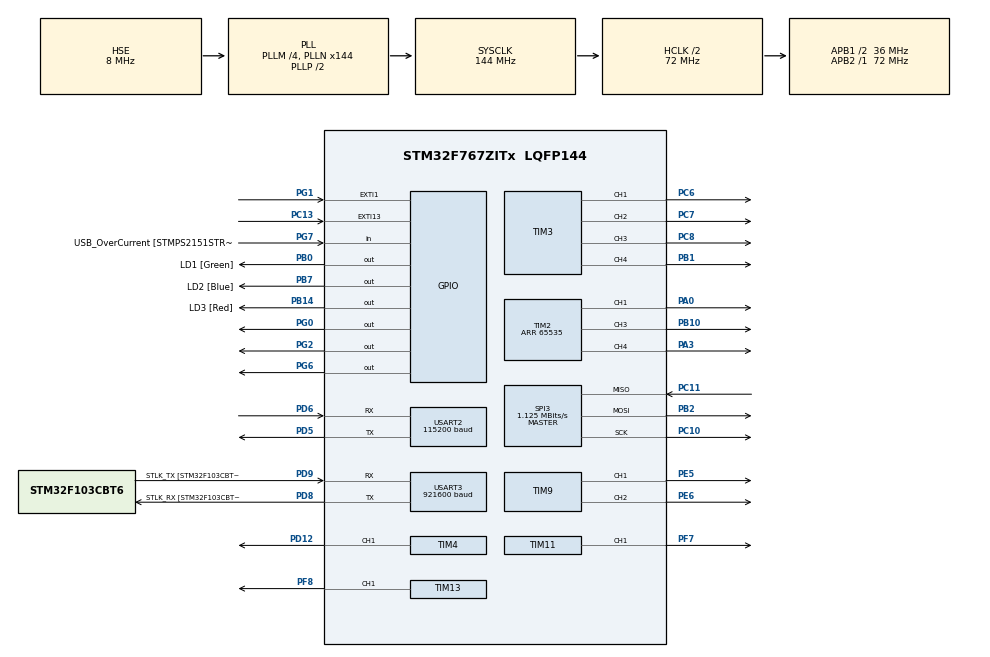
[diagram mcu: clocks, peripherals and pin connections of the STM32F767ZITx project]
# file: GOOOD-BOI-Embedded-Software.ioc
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Dma.Request0=SPI3_RX
Dma.Request1=SPI3_TX
Dma.Request2=USART3_TX
Dma.SPI3_RX.0.Direction=DMA_PERIPH_TO_MEMORY
Dma.SPI3_RX.0.FIFOMode=DMA_FIFOMODE_DISABLE
Dma.SPI3_RX.0.Instance=DMA1_Stream2
Dma.SPI3_RX.0.MemDataAlignment=DMA_MDATAALIGN_BYTE
Dma.SPI3_RX.0.MemInc=DMA_MINC_ENABLE
Dma.SPI3_RX.0.Mode=DMA_NORMAL
Dma.SPI3_RX.0.PeriphDataAlignment=DMA_PDATAALIGN_BYTE
Dma.SPI3_RX.0.PeriphInc=DMA_PINC_DISABLE
Dma.SPI3_RX.0.Priority=DMA_PRIORITY_LOW
Dma.SPI3_TX.1.Direction=DMA_MEMORY_TO_PERIPH
Dma.SPI3_TX.1.FIFOMode=DMA_FIFOMODE_DISABLE
Dma.SPI3_TX.1.Instance=DMA1_Stream7
Dma.SPI3_TX.1.MemDataAlignment=DMA_MDATAALIGN_BYTE
Dma.SPI3_TX.1.MemInc=DMA_MINC_ENABLE
Dma.SPI3_TX.1.Mode=DMA_NORMAL
Dma.SPI3_TX.1.PeriphDataAlignment=DMA_PDATAALIGN_BYTE
Dma.SPI3_TX.1.PeriphInc=DMA_PINC_DISABLE
Dma.SPI3_TX.1.Priority=DMA_PRIORITY_LOW
Dma.USART3_TX.2.Direction=DMA_MEMORY_TO_PERIPH
Dma.USART3_TX.2.FIFOMode=DMA_FIFOMODE_DISABLE
Dma.USART3_TX.2.Instance=DMA1_Stream3
Dma.USART3_TX.2.MemDataAlignment=DMA_MDATAALIGN_BYTE
Dma.USART3_TX.2.MemInc=DMA_MINC_ENABLE
Dma.USART3_TX.2.Mode=DMA_NORMAL
Dma.USART3_TX.2.PeriphDataAlignment=DMA_PDATAALIGN_BYTE
Dma.USART3_TX.2.PeriphInc=DMA_PINC_DISABLE
Dma.USART3_TX.2.Priority=DMA_PRIORITY_LOW
FREERTOS.Events01=DataReady_Pin,Dynamic,NULL;xControllLoop_EventFlag,Dynamic,NULL;yControllLoop_EventFlag,Dynamic,NULL;ControllLoopsFinished_EventFlag,Dynamic,NULL;piDataRx,Dynamic,NULL;searialDataReady,Dynamic,NULL
FREERTOS.Mutexes01=servoAngleMutex,Dynamic,NULL;servoOffsetMutex,Dynamic,NULL;accGyroMutex,Dynamic,NULL;uartBuffMutex,Dynamic,NULL
FREERTOS.Queues01=serialMessages_Queue,32,PSC_MSGQUEUE,0,Dynamic,NULL,NULL
FREERTOS.Tasks01=defaultTask,8,128,StartDefaultTask,Default,NULL,Dynamic,NULL,NULL;xControlLoop,52,512,StartTask02,Default,NULL,Dynamic,NULL,NULL;yControlLoop,52,512,StartTask03,Default,NULL,Dynamic,NULL,NULL;moveLegs,55,512,StartTask04,Default,NULL,Dynamic,NULL,NULL;updateServos,55,512,StartTask05,Default,NULL,Dynamic,NULL,NULL;readADI_IMU,55,256,StartTask06,Default,NULL,Dynamic,NULL,NULL;piComms,55,512,StartTask08,Default,NULL,Dynamic,NULL,NULL
FREERTOS.configENABLE_FPU=1
FREERTOS.configGENERATE_RUN_TIME_STATS=1
FREERTOS.configTICK_RATE_HZ=1000
FREERTOS.configUSE_NEWLIB_REENTRANT=1
FREERTOS.configUSE_STATS_FORMATTING_FUNCTIONS=1
Mcu.Family=STM32F7
Mcu.Name=STM32F767ZITx
Mcu.Package=LQFP144
NVIC.DMA1_Stream2_IRQn=true\:5\:0\:false\:false\:true\:true\:false\:true\:true
NVIC.DMA1_Stream3_IRQn=true\:5\:0\:false\:false\:true\:true\:false\:true\:true
NVIC.DMA1_Stream7_IRQn=true\:5\:0\:false\:false\:true\:true\:false\:true\:true
NVIC.EXTI15_10_IRQn=true\:5\:0\:false\:false\:true\:true\:true\:true\:true
NVIC.EXTI1_IRQn=true\:5\:0\:false\:false\:true\:true\:true\:true\:true
NVIC.PriorityGroup=NVIC_PRIORITYGROUP_4
NVIC.SPI3_IRQn=true\:5\:0\:false\:false\:true\:true\:true\:true\:true
NVIC.TIM1_UP_TIM10_IRQn=true\:5\:0\:false\:false\:true\:true\:true\:true\:true
NVIC.TIM6_DAC_IRQn=true\:0\:0\:false\:false\:true\:false\:false\:true\:true
NVIC.TIM8_TRG_COM_TIM14_IRQn=true\:5\:0\:false\:false\:true\:true\:true\:true\:true
NVIC.TimeBase=TIM6_DAC_IRQn
NVIC.TimeBaseIP=TIM6
NVIC.USART2_IRQn=true\:5\:0\:false\:false\:true\:false\:true\:true\:true
NVIC.USART3_IRQn=true\:5\:0\:false\:false\:true\:true\:true\:true\:true
PA0/WKUP.Signal=S_TIM2_CH1_ETR
PA1.GPIO_Label=RMII_REF_CLK [LAN8742A-CZ-TR_REFCLK0]
PA1.Signal=ETH_REF_CLK
PA10.GPIO_Label=USB_ID
PA10.Signal=USB_OTG_FS_ID
PA11.GPIO_Label=USB_DM
PA11.Signal=USB_OTG_FS_DM
PA12.GPIO_Label=USB_DP
PA12.Signal=USB_OTG_FS_DP
PA13.GPIO_Label=TMS
PA13.Mode=Serial_Wire
PA13.Signal=SYS_JTMS-SWDIO
PA14.GPIO_Label=TCK
PA14.Mode=Serial_Wire
PA14.Signal=SYS_JTCK-SWCLK
PA2.GPIO_Label=RMII_MDIO [LAN8742A-CZ-TR_MDIO]
PA2.Signal=ETH_MDIO
PA3.Signal=S_TIM2_CH4
PA7.GPIO_Label=RMII_CRS_DV [LAN8742A-CZ-TR_CRS_DV]
PA7.Signal=ETH_CRS_DV
PA8.GPIO_Label=USB_SOF [TP1]
PA8.Signal=USB_OTG_FS_SOF
PA9.GPIO_Label=USB_VBUS
PA9.Signal=USB_OTG_FS_VBUS
PB0.GPIO_Label=LD1 [Green]
PB0.Signal=GPIO_Output
PB1.Signal=S_TIM3_CH4
PB10.Signal=S_TIM2_CH3
PB13.GPIO_Label=RMII_TXD1 [LAN8742A-CZ-TR_TXD1]
PB13.Signal=ETH_TXD1
PB14.GPIO_Label=LD3 [Red]
PB14.Signal=GPIO_Output
PB2.Mode=Full_Duplex_Master
PB2.Signal=SPI3_MOSI
PB3.GPIO_Label=SWO
PB3.Signal=SYS_JTDO-SWO
PB7.GPIO_Label=LD2 [Blue]
PB7.Signal=GPIO_Output
PC1.GPIO_Label=RMII_MDC [LAN8742A-CZ-TR_MDC]
PC1.Signal=ETH_MDC
PC10.Mode=Full_Duplex_Master
PC10.Signal=SPI3_SCK
PC11.Mode=Full_Duplex_Master
PC11.Signal=SPI3_MISO
PC13.GPIO_PuPd=GPIO_NOPULL
PC13.Signal=GPXTI13
PC14/OSC32_IN.Mode=LSE-External-Oscillator
PC14/OSC32_IN.Signal=RCC_OSC32_IN
PC15/OSC32_OUT.Mode=LSE-External-Oscillator
PC15/OSC32_OUT.Signal=RCC_OSC32_OUT
PC4.GPIO_Label=RMII_RXD0 [LAN8742A-CZ-TR_RXD0]
PC4.Signal=ETH_RXD0
PC5.GPIO_Label=RMII_RXD1 [LAN8742A-CZ-TR_RXD1]
PC5.Signal=ETH_RXD1
PC6.Signal=S_TIM3_CH1
PC7.Signal=S_TIM3_CH2
PC8.Signal=S_TIM3_CH3
PD12.Signal=S_TIM4_CH1
PD5.Mode=Asynchronous
PD5.Signal=USART2_TX
PD6.Mode=Asynchronous
PD6.Signal=USART2_RX
PD8.GPIO_Label=STLK_RX [STM32F103CBT6_PA3]
PD8.Mode=Asynchronous
PD8.Signal=USART3_TX
PD9.GPIO_Label=STLK_TX [STM32F103CBT6_PA2]
PD9.Mode=Asynchronous
PD9.Signal=USART3_RX
PE5.Signal=S_TIM9_CH1
PE6.Signal=S_TIM9_CH2
PF7.Signal=S_TIM11_CH1
PF8.Signal=S_TIM13_CH1
PG0.Signal=GPIO_Output
PG1.Signal=GPXTI1
PG11.GPIO_Label=RMII_TX_EN [LAN8742A-CZ-TR_TXEN]
PG11.Signal=ETH_TX_EN
PG13.GPIO_Label=RMII_TXD0 [LAN8742A-CZ-TR_TXD0]
PG13.Signal=ETH_TXD0
PG2.GPIO_ModeDefaultOutputPP=GPIO_MODE_OUTPUT_PP
PG2.GPIO_PuPd=GPIO_PULLDOWN
PG2.GPIO_Speed=GPIO_SPEED_FREQ_HIGH
PG2.PinState=GPIO_PIN_SET
PG2.Signal=GPIO_Output
PG6.Signal=GPIO_Output
PG7.GPIO_Label=USB_OverCurrent [STMPS2151STR_FAULT]
PG7.Signal=GPIO_Input
PH0/OSC_IN.GPIO_Label=MCO [STM32F103CBT6_PA8]
PH0/OSC_IN.Mode=HSE-External-Clock-Source
PH0/OSC_IN.Signal=RCC_OSC_IN
PH1/OSC_OUT.Mode=HSE-External-Clock-Source
PH1/OSC_OUT.Signal=RCC_OSC_OUT
ProjectManager.HeapSize=0x200
ProjectManager.StackSize=0x400
ProjectManager.TargetToolchain=STM32CubeIDE
RCC.48MHZClocksFreq_Value=24000000
RCC.AHBCLKDivider=RCC_SYSCLK_DIV2
RCC.AHBFreq_Value=72000000
RCC.APB1CLKDivider=RCC_HCLK_DIV2
RCC.APB1Freq_Value=36000000
RCC.APB1TimFreq_Value=72000000
RCC.APB2Freq_Value=72000000
RCC.APB2TimFreq_Value=72000000
RCC.CortexFreq_Value=72000000
RCC.HCLKFreq_Value=72000000
RCC.HSE_VALUE=8000000
RCC.HSI_VALUE=16000000
RCC.PLLM=4
RCC.PLLMUL=RCC_PLL_MUL9
RCC.PLLN=144
RCC.PLLQ=6
RCC.PLLSourceVirtual=RCC_PLLSOURCE_HSE
RCC.PRESCALERUSB=RCC_USBCLKSOURCE_PLL_DIV1_5
RCC.SYSCLKFreq_VALUE=144000000
RCC.SYSCLKSource=RCC_SYSCLKSOURCE_PLLCLK
RCC.SYSCLKSourceVirtual=RCC_SYSCLKSOURCE_PLLCLK
RCC.USBFreq_Value=48000000
RCC.VCOOutputFreq_Value=288000000
SH.S_TIM11_CH1.0=TIM11_CH1,PWM Generation1 CH1
SH.S_TIM13_CH1.0=TIM13_CH1,PWM Generation1 CH1
SH.S_TIM2_CH1_ETR.0=TIM2_CH1,PWM Generation1 CH1
SH.S_TIM2_CH3.0=TIM2_CH3,PWM Generation3 CH3
SH.S_TIM2_CH4.0=TIM2_CH4,PWM Generation4 CH4
SH.S_TIM3_CH1.0=TIM3_CH1,PWM Generation1 CH1
SH.S_TIM3_CH2.0=TIM3_CH2,PWM Generation2 CH2
SH.S_TIM3_CH3.0=TIM3_CH3,PWM Generation3 CH3
SH.S_TIM3_CH4.0=TIM3_CH4,PWM Generation4 CH4
SH.S_TIM4_CH1.0=TIM4_CH1,PWM Generation1 CH1
SH.S_TIM9_CH1.0=TIM9_CH1,PWM Generation1 CH1
SH.S_TIM9_CH2.0=TIM9_CH2,PWM Generation2 CH2
SPI3.BaudRatePrescaler=SPI_BAUDRATEPRESCALER_32
SPI3.CLKPhase=SPI_PHASE_2EDGE
SPI3.CLKPolarity=SPI_POLARITY_HIGH
SPI3.CalculateBaudRate=1.125 MBits/s
SPI3.DataSize=SPI_DATASIZE_8BIT
SPI3.Direction=SPI_DIRECTION_2LINES
SPI3.Mode=SPI_MODE_MASTER
SPI3.VirtualType=VM_MASTER
TIM11.Channel=TIM_CHANNEL_1
TIM13.Channel=TIM_CHANNEL_1
TIM14.Period=10000
TIM14.Prescaler=72
TIM2.Channel-PWM\ Generation1\ CH1=TIM_CHANNEL_1
TIM2.Channel-PWM\ Generation3\ CH3=TIM_CHANNEL_3
TIM2.Channel-PWM\ Generation4\ CH4=TIM_CHANNEL_4
TIM2.Period=65535
TIM3.Channel-PWM\ Generation1\ CH1=TIM_CHANNEL_1
TIM3.Channel-PWM\ Generation2\ CH2=TIM_CHANNEL_2
TIM3.Channel-PWM\ Generation3\ CH3=TIM_CHANNEL_3
TIM3.Channel-PWM\ Generation4\ CH4=TIM_CHANNEL_4
TIM4.Channel-PWM\ Generation1\ CH1=TIM_CHANNEL_1
TIM9.Channel-PWM\ Generation1\ CH1=TIM_CHANNEL_1
TIM9.Channel-PWM\ Generation2\ CH2=TIM_CHANNEL_2
USART2.BaudRate=115200
USART2.VirtualMode-Asynchronous=VM_ASYNC
USART3.BaudRate=921600
USART3.VirtualMode-Asynchronous=VM_ASYNC
VP_FREERTOS_VS_CMSIS_V2.Mode=CMSIS_V2
VP_SYS_VS_tim6.Mode=TIM6
VP_TIM10_VS_ClockSourceINT.Mode=Enable_Timer
VP_TIM11_VS_ClockSourceINT.Mode=Enable_Timer
VP_TIM13_VS_ClockSourceINT.Mode=Enable_Timer
VP_TIM14_VS_ClockSourceINT.Mode=Enable_Timer
board=NUCLEO-F767ZI

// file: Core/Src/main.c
/* USER CODE BEGIN Header */
/**
 ******************************************************************************
 * @file           : main.c
 * @brief          : Main program body
 ******************************************************************************
 * @attention
 *
 * <h2><center>&copy; Copyright (c) 2021 STMicroelectronics.
 * All rights reserved.</center></h2>
 *
 * This software component is licensed by ST under BSD 3-Clause license,
 * the "License"; You may not use this file except in compliance with the
 * License. You may obtain a copy of the License at:
 *                        opensource.org/licenses/BSD-3-Clause
 *
 ******************************************************************************
 */
/* USER CODE END Header */
#include "main.h"
#include "cmsis_os.h"

/* USER CODE BEGIN Includes */

#include <stdio.h>
#include <math.h>
#include <semphr.h>
#include "../ECUAL/SERVO.h"
#include "../Robot/ADI_IMU/ADI_IMU.h"
#include "../Robot/LegControl/LegControl.h"
#include "../Robot/LegControl/LegControl_cfg.h"
#include "../Robot/DogControl/DogControl.h"
#include "../Robot/DogControl/DogControl_cfg.h"
#include "../Robot/Queue.h"
#include "../Inc/mutexs.h"
#include "../Robot/PiSerialComs/PiSerialComs.h"
#include <string.h>
/* USER CODE END Includes */

/* USER CODE BEGIN PD */
#define PI 3.14159265358979323846
#define RAD_TO_DEG 57.2958
#define DEG_TO_RAD .0175

#define STATE_WAIT 0
#define STATE_GET_TARGET_ANGLES 1
#define STATE_NORMAL_MODE 2
#define STATE_STAND_STILL 3
#define STATE_DIAGONAL_TROTT 4
#define ENABLE_PI_COMS 1
#define ENABLE_LAPTOP_COMS 0
#define numPrevAnglesToAverage 1

volatile int ENABLE_DATA_LOGGING = 0;
volatile int DONE_SENDING = 1;

/* USER CODE END PD */

SPI_HandleTypeDef hspi3;
DMA_HandleTypeDef hdma_spi3_rx;
DMA_HandleTypeDef hdma_spi3_tx;

TIM_HandleTypeDef htim2;
TIM_HandleTypeDef htim3;
TIM_HandleTypeDef htim4;
TIM_HandleTypeDef htim9;
TIM_HandleTypeDef htim10;
TIM_HandleTypeDef htim11;
TIM_HandleTypeDef htim13;
TIM_HandleTypeDef htim14;

UART_HandleTypeDef huart2;
UART_HandleTypeDef huart3;
DMA_HandleTypeDef hdma_usart3_tx;

/* Definitions for defaultTask */
osThreadId_t defaultTaskHandle;
const osThreadAttr_t defaultTask_attributes = {
  .name = "defaultTask",
  .stack_size = 128 * 4,
  .priority = (osPriority_t) osPriorityLow,
};
/* Definitions for xControlLoop */
osThreadId_t xControlLoopHandle;
const osThreadAttr_t xControlLoop_attributes = {
  .name = "xControlLoop",
  .stack_size = 512 * 4,
  .priority = (osPriority_t) osPriorityRealtime4,
};
/* Definitions for yControlLoop */
osThreadId_t yControlLoopHandle;
const osThreadAttr_t yControlLoop_attributes = {
  .name = "yControlLoop",
  .stack_size = 512 * 4,
  .priority = (osPriority_t) osPriorityRealtime4,
};
/* Definitions for moveLegs */
osThreadId_t moveLegsHandle;
const osThreadAttr_t moveLegs_attributes = {
  .name = "moveLegs",
  .stack_size = 512 * 4,
  .priority = (osPriority_t) osPriorityRealtime7,
};
/* Definitions for updateServos */
osThreadId_t updateServosHandle;
const osThreadAttr_t updateServos_attributes = {
  .name = "updateServos",
  .stack_size = 512 * 4,
  .priority = (osPriority_t) osPriorityRealtime7,
};
/* Definitions for readADI_IMU */
osThreadId_t readADI_IMUHandle;
const osThreadAttr_t readADI_IMU_attributes = {
  .name = "readADI_IMU",
  .stack_size = 256 * 4,
  .priority = (osPriority_t) osPriorityRealtime7,
};
/* Definitions for piComms */
osThreadId_t piCommsHandle;
const osThreadAttr_t piComms_attributes = {
  .name = "piComms",
  .stack_size = 512 * 4,
  .priority = (osPriority_t) osPriorityRealtime7,
};
/* Definitions for serialMessages_Queue */
osMessageQueueId_t serialMessages_QueueHandle;
const osMessageQueueAttr_t serialMessages_Queue_attributes = {
  .name = "serialMessages_Queue"
};
/* Definitions for servoAngleMutex */
osMutexId_t servoAngleMutexHandle;
const osMutexAttr_t servoAngleMutex_attributes = {
  .name = "servoAngleMutex"
};
/* Definitions for servoOffsetMutex */
osMutexId_t servoOffsetMutexHandle;
const osMutexAttr_t servoOffsetMutex_attributes = {
  .name = "servoOffsetMutex"
};
/* Definitions for accGyroMutex */
osMutexId_t accGyroMutexHandle;
const osMutexAttr_t accGyroMutex_attributes = {
  .name = "accGyroMutex"
};
/* Definitions for uartBuffMutex */
osMutexId_t uartBuffMutexHandle;
const osMutexAttr_t uartBuffMutex_attributes = {
  .name = "uartBuffMutex"
};
/* Definitions for DataReady_Pin */
osEventFlagsId_t DataReady_PinHandle;
const osEventFlagsAttr_t DataReady_Pin_attributes = {
  .name = "DataReady_Pin"
};
/* Definitions for xControllLoop_EventFlag */
osEventFlagsId_t xControllLoop_EventFlagHandle;
const osEventFlagsAttr_t xControllLoop_EventFlag_attributes = {
  .name = "xControllLoop_EventFlag"
};
/* Definitions for yControllLoop_EventFlag */
osEventFlagsId_t yControllLoop_EventFlagHandle;
const osEventFlagsAttr_t yControllLoop_EventFlag_attributes = {
  .name = "yControllLoop_EventFlag"
};
/* Definitions for ControllLoopsFinished_EventFlag */
osEventFlagsId_t ControllLoopsFinished_EventFlagHandle;
const osEventFlagsAttr_t ControllLoopsFinished_EventFlag_attributes = {
  .name = "ControllLoopsFinished_EventFlag"
};
/* Definitions for piDataRx */
osEventFlagsId_t piDataRxHandle;
const osEventFlagsAttr_t piDataRx_attributes = {
  .name = "piDataRx"
};
/* Definitions for searialDataReady */
osEventFlagsId_t searialDataReadyHandle;
const osEventFlagsAttr_t searialDataReady_attributes = {
  .name = "searialDataReady"
};
/* USER CODE BEGIN PV */

enum States {cntrlSys, standStill, wait, test1, test2, layDown, walk,walkdir};
volatile enum States STATE = standStill;
enum States testNum = test1;
int counter = 0;
int i;
int16_t targetValues[10];

float a = .966;
//use .011 .000015 .00045 for non stepping
const float Kpx = .015 ;//0.01645
const float Kix = .00009;
const float Kdx = .0000005;//

const float Kpy = Kpx;
const float Kiy = Kix;
const float Kdy = Kdx;

float sampleTime = .01;

volatile float currentTick = 0;

float prevTick = 0;
float deltaTicks;
float prevTick_1 = 0;
float deltaTicks_1;

float yAccAngle, yGyroRate, yGyroAngle, yCurrentAngle, yOffset, yTargetAngle;
float yError = 0;
float yErrorSum = 0;
float yPrevError = 0;
const float yErrorLimit = 10000;
float yPrevAngle = 0;
float yPrevAngles[numPrevAnglesToAverage];
float yPrevAngleSum = 0;
float yPrevAnglesAverage = 0;
int   yNumPrevAnglesAveraged = 0;
QUEUE_Queue yPrevAngles_queue;

int yPrevDataCount = 0;

float xAccAngle, xGyroRate, xGyroAngle, xCurrentAngle, xOffset, xTargetAngle;
float xError = 0;
float xErrorSum = 0;
float xPrevError = 0;
const float xErrorLimit = 10000;
float xPrevAngle = 0;
float xPrevAngles[numPrevAnglesToAverage];
float xPrevAngleSum = 0;
float xPrevAnglesAverage = 0;
int   xNumPrevAnglesAveraged = 0;

QUEUE_Queue xPrevAngles_queue;

volatile int state = STATE_WAIT;
int stateCounter = 0;

char UART2_rxBuffer[8];
char laptopStartMsg[] = {0,0,0,0,0};

/* USER CODE END PV */

void SystemClock_Config(void);
static void MX_GPIO_Init(void);
static void MX_DMA_Init(void);
static void MX_TIM2_Init(void);
static void MX_TIM3_Init(void);
static void MX_TIM4_Init(void);
static void MX_TIM9_Init(void);
static void MX_TIM11_Init(void);
static void MX_TIM13_Init(void);
static void MX_SPI3_Init(void);
static void MX_USART3_UART_Init(void);
static void MX_TIM10_Init(void);
static void MX_TIM14_Init(void);
static void MX_USART2_UART_Init(void);
void StartDefaultTask(void *argument);
void StartTask02(void *argument);
void StartTask03(void *argument);
void StartTask04(void *argument);
void StartTask05(void *argument);
void StartTask06(void *argument);
void StartTask08(void *argument);

/* USER CODE BEGIN PFP */
//void DMATransferComplete(DMA_HandleTypeDef hdma);
/* USER CODE END PFP */

int main(void)
{

  /* MCU Configuration--------------------------------------------------------*/

  /* Reset of all peripherals, Initializes the Flash interface and the Systick. */
  HAL_Init();

  /* Configure the system clock */
  SystemClock_Config();

  /* Initialize all configured peripherals */
  MX_GPIO_Init();
  MX_DMA_Init();
  MX_TIM2_Init();
  MX_TIM3_Init();
  MX_TIM4_Init();
  MX_TIM9_Init();
  MX_TIM11_Init();
  MX_TIM13_Init();
  MX_SPI3_Init();
  MX_USART3_UART_Init();
  MX_TIM10_Init();
  MX_TIM14_Init();
  MX_USART2_UART_Init();
  /* USER CODE BEGIN 2 */

	uart_buf_len = sprintf(uart_buf,"<GoodBoi Starting>\r\n");
	HAL_UART_Transmit(&huart2, (uint8_t*) uart_buf, uart_buf_len, 100);
	HAL_UART_Receive_IT(&huart2, (uint8_t *)&PSC_INPUT_BUFFER[PSC_BUFFER_INDEX], 1);
	//HAL_UART_Receive_IT(&huart2,(uint8_t*) UART2_rxBuffer, 8);
	//HAL_TIM_PWM_MspInit(&htim4);]
	HAL_SPI_MspInit(&hspi3);
	LEG_CONT_initServos();
	/////IS_RTOS_USED = 0;
	LEG_CONT_setPosXYZ(L_1, 0,0,DOG_CONT_g_walkHeight);
	LEG_CONT_setPosXYZ(L_2, 0,0,DOG_CONT_g_walkHeight);
	LEG_CONT_setPosXYZ(L_3, 0,0,DOG_CONT_g_walkHeight);
	LEG_CONT_setPosXYZ(L_4, 0,0,DOG_CONT_g_walkHeight);
	for(int i=0; i<LEG_CONT_NUM_SERVOS; i++){
		SERVO_MoveTo(i, LEG_CONT_servoAngles[i]);
	}
	//IS_RTOS_USED = 1;
	//  HAL_DMA_RegisterCallback(&hspi4, HAL_DMA_XFER_CPLT_CB_ID, &DMATransferComplete);
	//pull cs high
	DOG_CONT_g_walkOpenLoopOffsets[0] = DOG_CONT_g_walkOpenLoopOffset1;
	DOG_CONT_g_walkOpenLoopOffsets[1] = DOG_CONT_g_walkOpenLoopOffset2;
	DOG_CONT_g_walkOpenLoopOffsets[2] = DOG_CONT_g_walkOpenLoopOffset3;
	DOG_CONT_g_walkOpenLoopOffsets[3] = DOG_CONT_g_walkOpenLoopOffset4;

	LEG_CONT_g_walkStartOffsets[0] = LEG_CONT_g_walkStartOffset1;
	LEG_CONT_g_walkStartOffsets[1] = LEG_CONT_g_walkStartOffset2;
	LEG_CONT_g_walkStartOffsets[2] = LEG_CONT_g_walkStartOffset3;
	LEG_CONT_g_walkStartOffsets[3] = LEG_CONT_g_walkStartOffset4;

	LEG_CONT_CfgParams[0] = L_1;
	LEG_CONT_CfgParams[1] = L_2;
	LEG_CONT_CfgParams[2] = L_3;
	LEG_CONT_CfgParams[3] = L_4;
	ADI_IMU_initDevice(hspi3, GPIOG, GPIO_PIN_0, GPIOG, GPIO_PIN_1, GPIOG, GPIO_PIN_2);

	//say something

	spi_xmit_flag = 0;
	spi_recv_flag =0;
	yPrevAngles_queue.front=0;
	yPrevAngles_queue.rear=-1;
	yPrevAngles_queue.itemCount=0;
	xPrevAngles_queue.front=0;
	xPrevAngles_queue.rear=-1;
	xPrevAngles_queue.itemCount=0;

	LEG_CONT_movingForward = 0;
	/* Infinite loop */

	// HAL_Delay(1000);
  /* USER CODE END 2 */

  /* Init scheduler */
  osKernelInitialize();
  /* Create the mutex(es) */
  /* creation of servoAngleMutex */
  servoAngleMutexHandle = osMutexNew(&servoAngleMutex_attributes);

  /* creation of servoOffsetMutex */
  servoOffsetMutexHandle = osMutexNew(&servoOffsetMutex_attributes);

  /* creation of accGyroMutex */
  accGyroMutexHandle = osMutexNew(&accGyroMutex_attributes);

  /* creation of uartBuffMutex */
  uartBuffMutexHandle = osMutexNew(&uartBuffMutex_attributes);

  /* Create the queue(s) */
  /* creation of serialMessages_Queue */
  serialMessages_QueueHandle = osMessageQueueNew (32, sizeof(PSC_MSGQUEUE), &serialMessages_Queue_attributes);

  /* Create the thread(s) */
  /* creation of defaultTask */
  defaultTaskHandle = osThreadNew(StartDefaultTask, NULL, &defaultTask_attributes);

  /* creation of xControlLoop */
  xControlLoopHandle = osThreadNew(StartTask02, NULL, &xControlLoop_attributes);

  /* creation of yControlLoop */
  yControlLoopHandle = osThreadNew(StartTask03, NULL, &yControlLoop_attributes);

  /* creation of moveLegs */
  moveLegsHandle = osThreadNew(StartTask04, NULL, &moveLegs_attributes);

  /* creation of updateServos */
  updateServosHandle = osThreadNew(StartTask05, NULL, &updateServos_attributes);

  /* creation of readADI_IMU */
  readADI_IMUHandle = osThreadNew(StartTask06, NULL, &readADI_IMU_attributes);

  /* creation of piComms */
  piCommsHandle = osThreadNew(StartTask08, NULL, &piComms_attributes);

  /* creation of DataReady_Pin */
  DataReady_PinHandle = osEventFlagsNew(&DataReady_Pin_attributes);

  /* creation of xControllLoop_EventFlag */
  xControllLoop_EventFlagHandle = osEventFlagsNew(&xControllLoop_EventFlag_attributes);

  /* creation of yControllLoop_EventFlag */
  yControllLoop_EventFlagHandle = osEventFlagsNew(&yControllLoop_EventFlag_attributes);

  /* creation of ControllLoopsFinished_EventFlag */
  ControllLoopsFinished_EventFlagHandle = osEventFlagsNew(&ControllLoopsFinished_EventFlag_attributes);

  /* creation of piDataRx */
  piDataRxHandle = osEventFlagsNew(&piDataRx_attributes);

  /* creation of searialDataReady */
  searialDataReadyHandle = osEventFlagsNew(&searialDataReady_attributes);

  /* USER CODE BEGIN RTOS_EVENTS */
	state = STATE_GET_TARGET_ANGLES;
	//osTimerStart(xControllLoop_TimerHandle, 100u);
	//osTimerStart(yControllLoop_TimerHandle, 100u);
	HAL_TIM_Base_Start_IT(&htim14);
	/* add events, ... */
  /* USER CODE END RTOS_EVENTS */

  /* Start scheduler */
  osKernelStart();
  /* We should never get here as control is now taken by the scheduler */
  /* Infinite loop */
	while (1)
	{

	}
}

void SystemClock_Config(void)
{
  RCC_OscInitTypeDef RCC_OscInitStruct = {0};
  RCC_ClkInitTypeDef RCC_ClkInitStruct = {0};

  /** Configure LSE Drive Capability
  */
  HAL_PWR_EnableBkUpAccess();

  /** Configure the main internal regulator output voltage
  */
  __HAL_RCC_PWR_CLK_ENABLE();
  __HAL_PWR_VOLTAGESCALING_CONFIG(PWR_REGULATOR_VOLTAGE_SCALE3);

  /** Initializes the RCC Oscillators according to the specified parameters
  * in the RCC_OscInitTypeDef structure.
  */
  RCC_OscInitStruct.OscillatorType = RCC_OSCILLATORTYPE_HSE;
  RCC_OscInitStruct.HSEState = RCC_HSE_BYPASS;
  RCC_OscInitStruct.PLL.PLLState = RCC_PLL_ON;
  RCC_OscInitStruct.PLL.PLLSource = RCC_PLLSOURCE_HSE;
  RCC_OscInitStruct.PLL.PLLM = 4;
  RCC_OscInitStruct.PLL.PLLN = 144;
  RCC_OscInitStruct.PLL.PLLP = RCC_PLLP_DIV2;
  RCC_OscInitStruct.PLL.PLLQ = 6;
  RCC_OscInitStruct.PLL.PLLR = 2;
  if (HAL_RCC_OscConfig(&RCC_OscInitStruct) != HAL_OK)
  {
    Error_Handler();
  }

  /** Initializes the CPU, AHB and APB buses clocks
  */
  RCC_ClkInitStruct.ClockType = RCC_CLOCKTYPE_HCLK|RCC_CLOCKTYPE_SYSCLK
                              |RCC_CLOCKTYPE_PCLK1|RCC_CLOCKTYPE_PCLK2;
  RCC_ClkInitStruct.SYSCLKSource = RCC_SYSCLKSOURCE_PLLCLK;
  RCC_ClkInitStruct.AHBCLKDivider = RCC_SYSCLK_DIV2;
  RCC_ClkInitStruct.APB1CLKDivider = RCC_HCLK_DIV2;
  RCC_ClkInitStruct.APB2CLKDivider = RCC_HCLK_DIV1;

  if (HAL_RCC_ClockConfig(&RCC_ClkInitStruct, FLASH_LATENCY_2) != HAL_OK)
  {
    Error_Handler();
  }
}

static void MX_SPI3_Init(void)
{

  /* SPI3 parameter configuration*/
  hspi3.Instance = SPI3;
  hspi3.Init.Mode = SPI_MODE_MASTER;
  hspi3.Init.Direction = SPI_DIRECTION_2LINES;
  hspi3.Init.DataSize = SPI_DATASIZE_8BIT;
  hspi3.Init.CLKPolarity = SPI_POLARITY_HIGH;
  hspi3.Init.CLKPhase = SPI_PHASE_2EDGE;
  hspi3.Init.NSS = SPI_NSS_SOFT;
  hspi3.Init.BaudRatePrescaler = SPI_BAUDRATEPRESCALER_32;
  hspi3.Init.FirstBit = SPI_FIRSTBIT_MSB;
  hspi3.Init.TIMode = SPI_TIMODE_DISABLE;
  hspi3.Init.CRCCalculation = SPI_CRCCALCULATION_DISABLE;
  hspi3.Init.CRCPolynomial = 7;
  hspi3.Init.CRCLength = SPI_CRC_LENGTH_DATASIZE;
  hspi3.Init.NSSPMode = SPI_NSS_PULSE_DISABLE;
  if (HAL_SPI_Init(&hspi3) != HAL_OK)
  {
    Error_Handler();
  }

}

static void MX_TIM2_Init(void)
{

  TIM_MasterConfigTypeDef sMasterConfig = {0};
  TIM_OC_InitTypeDef sConfigOC = {0};

  htim2.Instance = TIM2;
  htim2.Init.Prescaler = 0;
  htim2.Init.CounterMode = TIM_COUNTERMODE_UP;
  htim2.Init.Period = 65535;
  htim2.Init.ClockDivision = TIM_CLOCKDIVISION_DIV1;
  htim2.Init.AutoReloadPreload = TIM_AUTORELOAD_PRELOAD_DISABLE;
  if (HAL_TIM_PWM_Init(&htim2) != HAL_OK)
  {
    Error_Handler();
  }
  sMasterConfig.MasterOutputTrigger = TIM_TRGO_RESET;
  sMasterConfig.MasterSlaveMode = TIM_MASTERSLAVEMODE_DISABLE;
  if (HAL_TIMEx_MasterConfigSynchronization(&htim2, &sMasterConfig) != HAL_OK)
  {
    Error_Handler();
  }
  sConfigOC.OCMode = TIM_OCMODE_PWM1;
  sConfigOC.Pulse = 0;
  sConfigOC.OCPolarity = TIM_OCPOLARITY_HIGH;
  sConfigOC.OCFastMode = TIM_OCFAST_DISABLE;
  if (HAL_TIM_PWM_ConfigChannel(&htim2, &sConfigOC, TIM_CHANNEL_1) != HAL_OK)
  {
    Error_Handler();
  }
  if (HAL_TIM_PWM_ConfigChannel(&htim2, &sConfigOC, TIM_CHANNEL_3) != HAL_OK)
  {
    Error_Handler();
  }
  if (HAL_TIM_PWM_ConfigChannel(&htim2, &sConfigOC, TIM_CHANNEL_4) != HAL_OK)
  {
    Error_Handler();
  }
  HAL_TIM_MspPostInit(&htim2);

}

static void MX_TIM3_Init(void)
{

  TIM_MasterConfigTypeDef sMasterConfig = {0};
  TIM_OC_InitTypeDef sConfigOC = {0};

  htim3.Instance = TIM3;
  htim3.Init.Prescaler = 0;
  htim3.Init.CounterMode = TIM_COUNTERMODE_UP;
  htim3.Init.Period = 65535;
  htim3.Init.ClockDivision = TIM_CLOCKDIVISION_DIV1;
  htim3.Init.AutoReloadPreload = TIM_AUTORELOAD_PRELOAD_DISABLE;
  if (HAL_TIM_PWM_Init(&htim3) != HAL_OK)
  {
    Error_Handler();
  }
  sMasterConfig.MasterOutputTrigger = TIM_TRGO_RESET;
  sMasterConfig.MasterSlaveMode = TIM_MASTERSLAVEMODE_DISABLE;
  if (HAL_TIMEx_MasterConfigSynchronization(&htim3, &sMasterConfig) != HAL_OK)
  {
    Error_Handler();
  }
  sConfigOC.OCMode = TIM_OCMODE_PWM1;
  sConfigOC.Pulse = 0;
  sConfigOC.OCPolarity = TIM_OCPOLARITY_HIGH;
  sConfigOC.OCFastMode = TIM_OCFAST_DISABLE;
  if (HAL_TIM_PWM_ConfigChannel(&htim3, &sConfigOC, TIM_CHANNEL_1) != HAL_OK)
  {
    Error_Handler();
  }
  if (HAL_TIM_PWM_ConfigChannel(&htim3, &sConfigOC, TIM_CHANNEL_2) != HAL_OK)
  {
    Error_Handler();
  }
  if (HAL_TIM_PWM_ConfigChannel(&htim3, &sConfigOC, TIM_CHANNEL_3) != HAL_OK)
  {
    Error_Handler();
  }
  if (HAL_TIM_PWM_ConfigChannel(&htim3, &sConfigOC, TIM_CHANNEL_4) != HAL_OK)
  {
    Error_Handler();
  }
  HAL_TIM_MspPostInit(&htim3);

}

static void MX_TIM4_Init(void)
{

  TIM_MasterConfigTypeDef sMasterConfig = {0};
  TIM_OC_InitTypeDef sConfigOC = {0};

  htim4.Instance = TIM4;
  htim4.Init.Prescaler = 0;
  htim4.Init.CounterMode = TIM_COUNTERMODE_UP;
  htim4.Init.Period = 65535;
  htim4.Init.ClockDivision = TIM_CLOCKDIVISION_DIV1;
  htim4.Init.AutoReloadPreload = TIM_AUTORELOAD_PRELOAD_DISABLE;
  if (HAL_TIM_PWM_Init(&htim4) != HAL_OK)
  {
    Error_Handler();
  }
  sMasterConfig.MasterOutputTrigger = TIM_TRGO_RESET;
  sMasterConfig.MasterSlaveMode = TIM_MASTERSLAVEMODE_DISABLE;
  if (HAL_TIMEx_MasterConfigSynchronization(&htim4, &sMasterConfig) != HAL_OK)
  {
    Error_Handler();
  }
  sConfigOC.OCMode = TIM_OCMODE_PWM1;
  sConfigOC.Pulse = 0;
  sConfigOC.OCPolarity = TIM_OCPOLARITY_HIGH;
  sConfigOC.OCFastMode = TIM_OCFAST_DISABLE;
  if (HAL_TIM_PWM_ConfigChannel(&htim4, &sConfigOC, TIM_CHANNEL_1) != HAL_OK)
  {
    Error_Handler();
  }
  HAL_TIM_MspPostInit(&htim4);

}

static void MX_TIM9_Init(void)
{

  TIM_OC_InitTypeDef sConfigOC = {0};

  htim9.Instance = TIM9;
  htim9.Init.Prescaler = 0;
  htim9.Init.CounterMode = TIM_COUNTERMODE_UP;
  htim9.Init.Period = 65535;
  htim9.Init.ClockDivision = TIM_CLOCKDIVISION_DIV1;
  htim9.Init.AutoReloadPreload = TIM_AUTORELOAD_PRELOAD_DISABLE;
  if (HAL_TIM_PWM_Init(&htim9) != HAL_OK)
  {
    Error_Handler();
  }
  sConfigOC.OCMode = TIM_OCMODE_PWM1;
  sConfigOC.Pulse = 0;
  sConfigOC.OCPolarity = TIM_OCPOLARITY_HIGH;
  sConfigOC.OCFastMode = TIM_OCFAST_DISABLE;
  if (HAL_TIM_PWM_ConfigChannel(&htim9, &sConfigOC, TIM_CHANNEL_1) != HAL_OK)
  {
    Error_Handler();
  }
  if (HAL_TIM_PWM_ConfigChannel(&htim9, &sConfigOC, TIM_CHANNEL_2) != HAL_OK)
  {
    Error_Handler();
  }
  HAL_TIM_MspPostInit(&htim9);

}

static void MX_TIM10_Init(void)
{

  htim10.Instance = TIM10;
  htim10.Init.Prescaler = 0;
  htim10.Init.CounterMode = TIM_COUNTERMODE_UP;
  htim10.Init.Period = 65535;
  htim10.Init.ClockDivision = TIM_CLOCKDIVISION_DIV1;
  htim10.Init.AutoReloadPreload = TIM_AUTORELOAD_PRELOAD_DISABLE;
  if (HAL_TIM_Base_Init(&htim10) != HAL_OK)
  {
    Error_Handler();
  }

}

static void MX_TIM11_Init(void)
{

  TIM_OC_InitTypeDef sConfigOC = {0};

  htim11.Instance = TIM11;
  htim11.Init.Prescaler = 0;
  htim11.Init.CounterMode = TIM_COUNTERMODE_UP;
  htim11.Init.Period = 65535;
  htim11.Init.ClockDivision = TIM_CLOCKDIVISION_DIV1;
  htim11.Init.AutoReloadPreload = TIM_AUTORELOAD_PRELOAD_DISABLE;
  if (HAL_TIM_Base_Init(&htim11) != HAL_OK)
  {
    Error_Handler();
  }
  if (HAL_TIM_PWM_Init(&htim11) != HAL_OK)
  {
    Error_Handler();
  }
  sConfigOC.OCMode = TIM_OCMODE_PWM1;
  sConfigOC.Pulse = 0;
  sConfigOC.OCPolarity = TIM_OCPOLARITY_HIGH;
  sConfigOC.OCFastMode = TIM_OCFAST_DISABLE;
  if (HAL_TIM_PWM_ConfigChannel(&htim11, &sConfigOC, TIM_CHANNEL_1) != HAL_OK)
  {
    Error_Handler();
  }
  HAL_TIM_MspPostInit(&htim11);

}

static void MX_TIM13_Init(void)
{

  TIM_OC_InitTypeDef sConfigOC = {0};

  htim13.Instance = TIM13;
  htim13.Init.Prescaler = 0;
  htim13.Init.CounterMode = TIM_COUNTERMODE_UP;
  htim13.Init.Period = 65535;
  htim13.Init.ClockDivision = TIM_CLOCKDIVISION_DIV1;
  htim13.Init.AutoReloadPreload = TIM_AUTORELOAD_PRELOAD_DISABLE;
  if (HAL_TIM_Base_Init(&htim13) != HAL_OK)
  {
    Error_Handler();
  }
  if (HAL_TIM_PWM_Init(&htim13) != HAL_OK)
  {
    Error_Handler();
  }
  sConfigOC.OCMode = TIM_OCMODE_PWM1;
  sConfigOC.Pulse = 0;
  sConfigOC.OCPolarity = TIM_OCPOLARITY_HIGH;
  sConfigOC.OCFastMode = TIM_OCFAST_DISABLE;
  if (HAL_TIM_PWM_ConfigChannel(&htim13, &sConfigOC, TIM_CHANNEL_1) != HAL_OK)
  {
    Error_Handler();
  }
  HAL_TIM_MspPostInit(&htim13);

}

static void MX_TIM14_Init(void)
{

  htim14.Instance = TIM14;
  htim14.Init.Prescaler = 72;
  htim14.Init.CounterMode = TIM_COUNTERMODE_UP;
  htim14.Init.Period = 10000;
  htim14.Init.ClockDivision = TIM_CLOCKDIVISION_DIV1;
  htim14.Init.AutoReloadPreload = TIM_AUTORELOAD_PRELOAD_DISABLE;
  if (HAL_TIM_Base_Init(&htim14) != HAL_OK)
  {
    Error_Handler();
  }

}

static void MX_USART2_UART_Init(void)
{

  huart2.Instance = USART2;
  huart2.Init.BaudRate = 115200;
  huart2.Init.WordLength = UART_WORDLENGTH_8B;
  huart2.Init.StopBits = UART_STOPBITS_1;
  huart2.Init.Parity = UART_PARITY_NONE;
  huart2.Init.Mode = UART_MODE_TX_RX;
  huart2.Init.HwFlowCtl = UART_HWCONTROL_NONE;
  huart2.Init.OverSampling = UART_OVERSAMPLING_16;
  huart2.Init.OneBitSampling = UART_ONE_BIT_SAMPLE_DISABLE;
  huart2.AdvancedInit.AdvFeatureInit = UART_ADVFEATURE_NO_INIT;
  if (HAL_UART_Init(&huart2) != HAL_OK)
  {
    Error_Handler();
  }

}

static void MX_USART3_UART_Init(void)
{

  huart3.Instance = USART3;
  huart3.Init.BaudRate = 921600;
  huart3.Init.WordLength = UART_WORDLENGTH_8B;
  huart3.Init.StopBits = UART_STOPBITS_1;
  huart3.Init.Parity = UART_PARITY_NONE;
  huart3.Init.Mode = UART_MODE_TX_RX;
  huart3.Init.HwFlowCtl = UART_HWCONTROL_NONE;
  huart3.Init.OverSampling = UART_OVERSAMPLING_16;
  huart3.Init.OneBitSampling = UART_ONE_BIT_SAMPLE_DISABLE;
  huart3.AdvancedInit.AdvFeatureInit = UART_ADVFEATURE_NO_INIT;
  if (HAL_UART_Init(&huart3) != HAL_OK)
  {
    Error_Handler();
  }

}

static void MX_DMA_Init(void)
{

  /* DMA controller clock enable */
  __HAL_RCC_DMA1_CLK_ENABLE();

  /* DMA interrupt init */
  /* DMA1_Stream2_IRQn interrupt configuration */
  HAL_NVIC_SetPriority(DMA1_Stream2_IRQn, 5, 0);
  HAL_NVIC_EnableIRQ(DMA1_Stream2_IRQn);
  /* DMA1_Stream3_IRQn interrupt configuration */
  HAL_NVIC_SetPriority(DMA1_Stream3_IRQn, 5, 0);
  HAL_NVIC_EnableIRQ(DMA1_Stream3_IRQn);
  /* DMA1_Stream7_IRQn interrupt configuration */
  HAL_NVIC_SetPriority(DMA1_Stream7_IRQn, 5, 0);
  HAL_NVIC_EnableIRQ(DMA1_Stream7_IRQn);

}

static void MX_GPIO_Init(void)
{
  GPIO_InitTypeDef GPIO_InitStruct = {0};

  /* GPIO Ports Clock Enable */
  __HAL_RCC_GPIOE_CLK_ENABLE();
  __HAL_RCC_GPIOC_CLK_ENABLE();
  __HAL_RCC_GPIOF_CLK_ENABLE();
  __HAL_RCC_GPIOH_CLK_ENABLE();
  __HAL_RCC_GPIOA_CLK_ENABLE();
  __HAL_RCC_GPIOB_CLK_ENABLE();
  __HAL_RCC_GPIOG_CLK_ENABLE();
  __HAL_RCC_GPIOD_CLK_ENABLE();

  /*Configure GPIO pin Output Level */
  HAL_GPIO_WritePin(GPIOB, LD1_Pin|LD3_Pin|LD2_Pin, GPIO_PIN_RESET);

  /*Configure GPIO pin Output Level */
  HAL_GPIO_WritePin(GPIOG, GPIO_PIN_0|GPIO_PIN_6, GPIO_PIN_RESET);

  /*Configure GPIO pin Output Level */
  HAL_GPIO_WritePin(GPIOG, GPIO_PIN_2, GPIO_PIN_SET);

  /*Configure GPIO pin : PC13 */
  GPIO_InitStruct.Pin = GPIO_PIN_13;
  GPIO_InitStruct.Mode = GPIO_MODE_IT_RISING;
  GPIO_InitStruct.Pull = GPIO_NOPULL;
  HAL_GPIO_Init(GPIOC, &GPIO_InitStruct);

  /*Configure GPIO pins : RMII_MDC_Pin RMII_RXD0_Pin RMII_RXD1_Pin */
  GPIO_InitStruct.Pin = RMII_MDC_Pin|RMII_RXD0_Pin|RMII_RXD1_Pin;
  GPIO_InitStruct.Mode = GPIO_MODE_AF_PP;
  GPIO_InitStruct.Pull = GPIO_NOPULL;
  GPIO_InitStruct.Speed = GPIO_SPEED_FREQ_VERY_HIGH;
  GPIO_InitStruct.Alternate = GPIO_AF11_ETH;
  HAL_GPIO_Init(GPIOC, &GPIO_InitStruct);

  /*Configure GPIO pins : RMII_REF_CLK_Pin RMII_MDIO_Pin RMII_CRS_DV_Pin */
  GPIO_InitStruct.Pin = RMII_REF_CLK_Pin|RMII_MDIO_Pin|RMII_CRS_DV_Pin;
  GPIO_InitStruct.Mode = GPIO_MODE_AF_PP;
  GPIO_InitStruct.Pull = GPIO_NOPULL;
  GPIO_InitStruct.Speed = GPIO_SPEED_FREQ_VERY_HIGH;
  GPIO_InitStruct.Alternate = GPIO_AF11_ETH;
  HAL_GPIO_Init(GPIOA, &GPIO_InitStruct);

  /*Configure GPIO pins : LD1_Pin LD3_Pin LD2_Pin */
  GPIO_InitStruct.Pin = LD1_Pin|LD3_Pin|LD2_Pin;
  GPIO_InitStruct.Mode = GPIO_MODE_OUTPUT_PP;
  GPIO_InitStruct.Pull = GPIO_NOPULL;
  GPIO_InitStruct.Speed = GPIO_SPEED_FREQ_LOW;
  HAL_GPIO_Init(GPIOB, &GPIO_InitStruct);

  /*Configure GPIO pins : PG0 PG6 */
  GPIO_InitStruct.Pin = GPIO_PIN_0|GPIO_PIN_6;
  GPIO_InitStruct.Mode = GPIO_MODE_OUTPUT_PP;
  GPIO_InitStruct.Pull = GPIO_NOPULL;
  GPIO_InitStruct.Speed = GPIO_SPEED_FREQ_LOW;
  HAL_GPIO_Init(GPIOG, &GPIO_InitStruct);

  /*Configure GPIO pin : PG1 */
  GPIO_InitStruct.Pin = GPIO_PIN_1;
  GPIO_InitStruct.Mode = GPIO_MODE_IT_RISING;
  GPIO_InitStruct.Pull = GPIO_NOPULL;
  HAL_GPIO_Init(GPIOG, &GPIO_InitStruct);

  /*Configure GPIO pin : RMII_TXD1_Pin */
  GPIO_InitStruct.Pin = RMII_TXD1_Pin;
  GPIO_InitStruct.Mode = GPIO_MODE_AF_PP;
  GPIO_InitStruct.Pull = GPIO_NOPULL;
  GPIO_InitStruct.Speed = GPIO_SPEED_FREQ_VERY_HIGH;
  GPIO_InitStruct.Alternate = GPIO_AF11_ETH;
  HAL_GPIO_Init(RMII_TXD1_GPIO_Port, &GPIO_InitStruct);

  /*Configure GPIO pin : PG2 */
  GPIO_InitStruct.Pin = GPIO_PIN_2;
  GPIO_InitStruct.Mode = GPIO_MODE_OUTPUT_PP;
  GPIO_InitStruct.Pull = GPIO_PULLDOWN;
  GPIO_InitStruct.Speed = GPIO_SPEED_FREQ_HIGH;
  HAL_GPIO_Init(GPIOG, &GPIO_InitStruct);

  /*Configure GPIO pin : USB_OverCurrent_Pin */
  GPIO_InitStruct.Pin = USB_OverCurrent_Pin;
  GPIO_InitStruct.Mode = GPIO_MODE_INPUT;
  GPIO_InitStruct.Pull = GPIO_NOPULL;
  HAL_GPIO_Init(USB_OverCurrent_GPIO_Port, &GPIO_InitStruct);

  /*Configure GPIO pins : USB_SOF_Pin USB_ID_Pin USB_DM_Pin USB_DP_Pin */
  GPIO_InitStruct.Pin = USB_SOF_Pin|USB_ID_Pin|USB_DM_Pin|USB_DP_Pin;
  GPIO_InitStruct.Mode = GPIO_MODE_AF_PP;
  GPIO_InitStruct.Pull = GPIO_NOPULL;
  GPIO_InitStruct.Speed = GPIO_SPEED_FREQ_VERY_HIGH;
  GPIO_InitStruct.Alternate = GPIO_AF10_OTG_FS;
  HAL_GPIO_Init(GPIOA, &GPIO_InitStruct);

  /*Configure GPIO pin : USB_VBUS_Pin */
  GPIO_InitStruct.Pin = USB_VBUS_Pin;
  GPIO_InitStruct.Mode = GPIO_MODE_INPUT;
  GPIO_InitStruct.Pull = GPIO_NOPULL;
  HAL_GPIO_Init(USB_VBUS_GPIO_Port, &GPIO_InitStruct);

  /*Configure GPIO pins : RMII_TX_EN_Pin RMII_TXD0_Pin */
  GPIO_InitStruct.Pin = RMII_TX_EN_Pin|RMII_TXD0_Pin;
  GPIO_InitStruct.Mode = GPIO_MODE_AF_PP;
  GPIO_InitStruct.Pull = GPIO_NOPULL;
  GPIO_InitStruct.Speed = GPIO_SPEED_FREQ_VERY_HIGH;
  GPIO_InitStruct.Alternate = GPIO_AF11_ETH;
  HAL_GPIO_Init(GPIOG, &GPIO_InitStruct);

  /* EXTI interrupt init*/
  HAL_NVIC_SetPriority(EXTI1_IRQn, 5, 0);
  HAL_NVIC_EnableIRQ(EXTI1_IRQn);

  HAL_NVIC_SetPriority(EXTI15_10_IRQn, 5, 0);
  HAL_NVIC_EnableIRQ(EXTI15_10_IRQn);

}

/* USER CODE BEGIN 4 */
void HAL_GPIO_EXTI_Callback(uint16_t GPIO_Pin)
{
	if(GPIO_Pin == ADI_IMU_device1.DRPin && HAL_SPI_GetState(&ADI_IMU_device1.HSPI) == HAL_SPI_STATE_READY && ADI_IMU_device1.State == ADI_IMU_READY)
	{
		osEventFlagsSet(DataReady_PinHandle, 0x0001);

		//
		//
		//    	//ADI_IMU_readRegisterScaled();
		//    		//ADI_IMU_readRegister(PROD_ID, 1, spi_buf);
		//    		//ADI_IMU_burstRead();
		//    		//uart_buf_len = sprintf(uart_buf,"%.2X%.2X\r\n\n\n", (uint8_t)spi_buf[0],
		//    		//													(uint8_t)spi_buf[1]);
		//    		//HAL_UART_Transmit(&huart3, (uint8_t*) uart_buf, uart_buf_len, 100);
		//
		//
	}
	if(GPIO_Pin == GPIO_PIN_13){
		stateCounter++;
		ADI_IMU_device1.State = ADI_IMU_NOT_READY;
		HAL_GPIO_TogglePin(ADI_IMU_device1.RSTPort, ADI_IMU_device1.RSTPin);
		HAL_GPIO_TogglePin(ADI_IMU_device1.RSTPort, ADI_IMU_device1.RSTPin);
		//HAL_Delay(255);
		ADI_IMU_device1.State = ADI_IMU_READY;

		//		xTargetAngle = atan2(ADI_IMU_burstReadBufScaled[5], ADI_IMU_burstReadBufScaled[7])*180/PI;
		//		yTargetAngle = atan2(ADI_IMU_burstReadBufScaled[6], ADI_IMU_burstReadBufScaled[7])*180/PI;

		xAccAngle = atan2(ADI_IMU_burstReadBufScaled[5], ADI_IMU_burstReadBufScaled[7])*180/PI;
		xGyroRate = ADI_IMU_burstReadBufScaled[2];
		xGyroAngle = xGyroRate*sampleTime;
		xTargetAngle = a*(xPrevAnglesAverage+xGyroAngle)+(1-a)*(xAccAngle);

		yAccAngle = atan2(ADI_IMU_burstReadBufScaled[6], ADI_IMU_burstReadBufScaled[7])*180/PI;
		yGyroRate = ADI_IMU_burstReadBufScaled[3];
		yGyroAngle = yGyroRate*sampleTime;
		yTargetAngle = a*(yPrevAnglesAverage+yGyroAngle)+(1-a)*(yAccAngle);

		xErrorSum = 0;
		yErrorSum = 0;
		xNumPrevAnglesAveraged = 0;
		yNumPrevAnglesAveraged = 0;
		xPrevAnglesAverage = 0;
		yPrevAnglesAverage = 0;

		//		if(stateCounter %2){
		//			state = STATE_DIAGONAL_TROTT;
		//		}else{
		//			state = STATE_STAND_STILL;
		//		}

		//		while(!QUEUE_isEmpty(&xPrevAngles_queue)){
		//			QUEUE_removeData(&xPrevAngles_queue);
		//		}
		//		while(!QUEUE_isEmpty(&yPrevAngles_queue)){
		//			QUEUE_removeData(&yPrevAngles_queue);
		//		}

	}
}

void HAL_SPI_TxRxCpltCallback(SPI_HandleTypeDef * hspi){

}

void HAL_UART_RxCpltCallback(UART_HandleTypeDef *huart)
{
	if(huart == &huart2){
		PSC_BUFFER_INDEX++;
		if(PSC_BUFFER_INDEX>=PSC_BUFFER_SIZE){
			PSC_BUFFER_INDEX=0;
		}

		HAL_UART_Receive_IT(&huart2, (uint8_t *)&PSC_INPUT_BUFFER[PSC_BUFFER_INDEX], 1);

	}
	if(huart == &huart3){
		//ENABLE_DATA_LOGGING = 1;
		STATE = testNum;

	}
}
void HAL_UART_TxCpltCallback(UART_HandleTypeDef *huart)
{
	//char endchar = '>';
	if(huart == &huart2){
		PSC_ClearOutBuffer();
		HAL_UART_Receive_IT(&huart2, (uint8_t *)&PSC_INPUT_BUFFER[PSC_BUFFER_INDEX], 1);
	}
	if(huart == &huart3){
		DONE_SENDING = 1;

	}
}

/* USER CODE END 4 */

void StartDefaultTask(void *argument)
{
	for(;;)
	{
		osDelay(1);
	}
}

void StartTask02(void *argument)
{
  /* USER CODE BEGIN StartTask02 */
	/* Infinite loop */
	float imuValue2, imuValue5, imuValue7;
	for(;;){
		if((STATE == cntrlSys || STATE == test2)  && STATE != wait){
			osEventFlagsWait(xControllLoop_EventFlagHandle, 0x0001,  osFlagsWaitAny, 0);

			if(ADI_IMU_device1.HSPI.State == HAL_SPI_STATE_READY)  {
				if(osMutexAcquire(accGyroMutexHandle, 0)==osOK){
					imuValue2 = ADI_IMU_burstReadBufScaled[2];
					imuValue5 = ADI_IMU_burstReadBufScaled[5];
					imuValue7 = ADI_IMU_burstReadBufScaled[7];
					osMutexRelease(accGyroMutexHandle);

					xAccAngle = atan2(imuValue5, imuValue7)*180/PI;
					xGyroRate = imuValue2;
					xGyroAngle = xGyroRate*sampleTime;
					xCurrentAngle = a*(xPrevAnglesAverage+xGyroAngle)+(1-a)*(xAccAngle);
					xError = xCurrentAngle-xTargetAngle;

					if(xErrorSum<xErrorLimit && xErrorSum > -xErrorLimit){
						xErrorSum += xError;
					}
					xOffset = Kpx*xError + Kix*xErrorSum * sampleTime - Kdx*(xGyroRate)/sampleTime;
					xPrevAnglesAverage = xCurrentAngle;
					xPrevError = xError;
				}
			}
			//osDelay(1);
		}
	}
  /* USER CODE END StartTask02 */
}

void StartTask03(void *argument)
{
  /* USER CODE BEGIN StartTask03 */
	/* Infinite loop */
	float imuValue3, imuValue6, imuValue7;

	for(;;) {
		if((STATE == cntrlSys || STATE == test2) && STATE != wait){
			osEventFlagsWait(yControllLoop_EventFlagHandle, 0x0001,  osFlagsWaitAny, 0);
			if(osMutexAcquire(accGyroMutexHandle, 0) == osOK){
				imuValue3 = ADI_IMU_burstReadBufScaled[3];
				imuValue6 = ADI_IMU_burstReadBufScaled[6];
				imuValue7 = ADI_IMU_burstReadBufScaled[7];
				osMutexRelease(accGyroMutexHandle);

				yAccAngle = atan2(imuValue6, imuValue7)*180/PI;
				yGyroRate = imuValue3;
				yGyroAngle = yGyroRate * sampleTime;
				yCurrentAngle = a*(yPrevAnglesAverage+yGyroAngle)+(1-a)*(yAccAngle);
				yError = yCurrentAngle-yTargetAngle;

				if(yErrorSum<yErrorLimit && yErrorSum>-yErrorLimit){
					yErrorSum += yError;
				}

				yOffset = Kpy*yError + Kiy*yErrorSum * sampleTime - Kdy*(yGyroRate)/sampleTime;
				yPrevAnglesAverage = yCurrentAngle;
				yPrevError = yError;
			}

		}
	}
  /* USER CODE END StartTask03 */
}

void StartTask04(void *argument)
{
  /* USER CODE BEGIN StartTask04 */
	/* Infinite loop */
	short int temp = 0;
	float startTime;
	float time = 0;
	VECT_3D openLoopOffset = {0,0,0};

	float l1_start = DOG_CONT_g_walkDistance/2;
	float l2_start = DOG_CONT_g_walkDistance *3/4;
	float l3_start = DOG_CONT_g_walkDistance/ 4;
	float l4_start = DOG_CONT_g_walkDistance;
	float percentage = 0;
	float openloopOffsetPerc = percentage;

	for(;;){
		if(STATE != wait){
			if(STATE == walk || STATE == walkdir){
				percentage = time/DOG_CONT_g_walkMaxTime;
				openloopOffsetPerc =percentage +.125;
				if( openloopOffsetPerc >=1 ){
					openloopOffsetPerc -=1;
				}
				if(openloopOffsetPerc <= .25){ //(+x,-y)->(-x,-y)
					openLoopOffset = VECT_Point2Point(DOG_CONT_g_walkOpenLoopOffsets[0], DOG_CONT_g_walkOpenLoopOffsets[1], 4*openloopOffsetPerc);
				}
				else if(openloopOffsetPerc > .25 && openloopOffsetPerc <= .5){ //(-x,-y)->(-x,+y)-
					openLoopOffset = VECT_Point2Point(DOG_CONT_g_walkOpenLoopOffsets[1], DOG_CONT_g_walkOpenLoopOffsets[2], 4*(openloopOffsetPerc-.25));
				}
				else if(openloopOffsetPerc > .5 && openloopOffsetPerc <= .75){ //(-x,+y)->(+x,+y)
					openLoopOffset = VECT_Point2Point(DOG_CONT_g_walkOpenLoopOffsets[2], DOG_CONT_g_walkOpenLoopOffsets[3], 4*(openloopOffsetPerc-.5));
				}
				else if(openloopOffsetPerc > .75 && openloopOffsetPerc <= 1){ //(+x,+y)->(+x,-y)
					openLoopOffset = VECT_Point2Point(DOG_CONT_g_walkOpenLoopOffsets[3], DOG_CONT_g_walkOpenLoopOffsets[0], 4*(openloopOffsetPerc-.75));
				}

				if(STATE == walk){
					DOG_CONT_walkingGait_1(L_1, l1_start, DOG_CONT_g_walkDistance, percentage,    VECT_Add3D(LEG_CONT_g_walkStartOffsets[0], openLoopOffset));
					DOG_CONT_walkingGait_1(L_2, l2_start, DOG_CONT_g_walkDistance, percentage,    VECT_Add3D(LEG_CONT_g_walkStartOffsets[1], openLoopOffset));
					DOG_CONT_walkingGait_1(L_3, l3_start, DOG_CONT_g_walkDistance, percentage,    VECT_Add3D(LEG_CONT_g_walkStartOffsets[2], openLoopOffset));
					DOG_CONT_walkingGait_1(L_4, l4_start, DOG_CONT_g_walkDistance, percentage,    VECT_Add3D(LEG_CONT_g_walkStartOffsets[3], openLoopOffset));
				}else {
					DOG_CONT_walkingGait_2(L_1, l1_start, DOG_CONT_g_walkDistance, percentage,    VECT_Add3D(LEG_CONT_g_walkStartOffsets[0], openLoopOffset), DOG_CONT_g_walkDirection);
					DOG_CONT_walkingGait_2(L_2, l2_start, DOG_CONT_g_walkDistance, percentage,    VECT_Add3D(LEG_CONT_g_walkStartOffsets[1], openLoopOffset), DOG_CONT_g_walkDirection);
					DOG_CONT_walkingGait_1(L_3, l3_start, DOG_CONT_g_walkDistance, percentage,    VECT_Add3D(LEG_CONT_g_walkStartOffsets[2], openLoopOffset));
					DOG_CONT_walkingGait_1(L_4, l4_start, DOG_CONT_g_walkDistance, percentage,    VECT_Add3D(LEG_CONT_g_walkStartOffsets[3], openLoopOffset));
				}

				time+=1;
				if(time >= DOG_CONT_g_walkMaxTime){
					time = 0;
				}
			}
			if(STATE == cntrlSys){
				LEG_CONT_setPosXYZ(L_1, .5-xOffset, -.5-yOffset,1.5);
				LEG_CONT_setPosXYZ(L_2, -.5-xOffset, -.5-yOffset,1.5);
				LEG_CONT_setPosXYZ(L_3, 0,0,.5);
				LEG_CONT_setPosXYZ(L_4, -.5-xOffset,  .5-yOffset,1.5);
			}
			if(STATE == standStill){
				LEG_CONT_setPosXYZ(L_1,  .75, -.75, 1.5);
				LEG_CONT_setPosXYZ(L_2, -.75, -.75 ,1.5);
				LEG_CONT_setPosXYZ(L_3,  .75,  .75, 1.5);
				LEG_CONT_setPosXYZ(L_4, -.75,  .75, 1.5);
			}
			if(STATE == layDown){
				LEG_CONT_setPosXYZ(L_1,  0, -.5, 0);
				LEG_CONT_setPosXYZ(L_2,  0, -.5, 0);
				LEG_CONT_setPosXYZ(L_3,  0,  .5, 0);
				LEG_CONT_setPosXYZ(L_4,  0,  .5, 0);
			}
			if(STATE == test1){
				if(!temp){
					startTime = (float)osKernelGetSysTimerCount()/ (float)osKernelGetSysTimerFreq();
					temp = 1;
				}
				if((float)osKernelGetSysTimerCount()/ (float)osKernelGetSysTimerFreq()-startTime > 5){
					for(float i=1.5; i>1.0; i-=.001){
						LEG_CONT_setPosXYZ(L_3,   .75,   .75,  i);

					}
					STATE = wait;
				}

			}if(STATE == test2){
				if(!temp){
					startTime = (float)osKernelGetSysTimerCount()/ (float)osKernelGetSysTimerFreq();
					temp = 1;
				}
				if( (float)osKernelGetSysTimerCount()/ (float)osKernelGetSysTimerFreq() - startTime > 5){

					LEG_CONT_setPosXYZ(L_1, .5-xOffset, 	-.5-yOffset,1.5);
					LEG_CONT_setPosXYZ(L_2, -.5-xOffset, 	-.5-yOffset,1.5);
					LEG_CONT_setPosXYZ(L_3, .5-xOffset,   0,  i);
					LEG_CONT_setPosXYZ(L_4, -.5-xOffset,  .5-yOffset,1.5);
					for(float i=0; i<.24; i+=.001){
						LEG_CONT_setPosXYZ(L_3,   0,   0,  i);
					}
					STATE = wait;
				}
			}
		}
	}
  /* USER CODE END StartTask04 */
}

void StartTask05(void *argument)
{
  /* USER CODE BEGIN StartTask05 */
	/* Infinite loop */
	//float angle =0;
	for(;;){

		if(STATE != wait || STATE == test1 || STATE == test2){
			for(int i=0; i<LEG_CONT_NUM_SERVOS; i++){
				if(osMutexAcquire(servoAngleMutexHandle, 0) == osOK){
					//angle =  /* + LEG_CONT_servoOffsets[i]*/;
					SERVO_MoveTo(i, LEG_CONT_servoAngles[i]);
					osMutexRelease(servoAngleMutexHandle);
				}
			}
		}
	}
  /* USER CODE END StartTask05 */
}

void StartTask06(void *argument)
{
  /* USER CODE BEGIN StartTask06 */
	/* Infinite loop */
	for(;;){

		osEventFlagsWait(DataReady_PinHandle, 0x0001,  osFlagsWaitAny, 0);
		ADI_IMU_burstRead();
		if(osMutexAcquire(accGyroMutexHandle, 0) == osOK){
			ADI_IMU_scaleBurstRead();
			osMutexRelease(accGyroMutexHandle);
			currentTick = (float)osKernelGetSysTimerCount()/ (float)osKernelGetSysTimerFreq();
			deltaTicks_1 = currentTick - prevTick_1;
			prevTick_1 = currentTick;
		}

	}
  /* USER CODE END StartTask06 */
}

void StartTask08(void *argument)
{
  /* USER CODE BEGIN StartTask08 */
	/* Infinite loop */
	PSC_InitBuffers();
	PSC_MSGQUEUE msg;

	//osStatus_t status;

	int messageLen = 0;
	//char[100] response;
	for(;;)
	{
		if(ENABLE_PI_COMS&&PSC_checkBuffer()){
			//osEventFlagsWait(serialDataReady_EventFlagHandle, 0x0010,  osFlagsWaitAny, 0);
			//if(osMutexAcquire(uartBuffMutexHandle, 0) == osOK){
			HAL_UART_AbortReceive(&huart2);

			for(int i=0;i<=PSC_MSG_LEN;i++){
				msg.Buf[i] =PSC_MESSAGE[i];
			}
			msg.Idx= PSC_MSG_LEN;
			//PSC_clearBuffer();
			//	  status = osMessageQueueGet(serialMessages_QueueHandle, &msg, NULL, 10U);   // wait for message
			//	  if (status == osOK) {
			if(strncmp(msg.Buf, "brdIdRqst", msg.Idx)==0){
				char response = '1';
				HAL_UART_Transmit_IT(&huart2, (uint8_t*)&response, sizeof(response));
			}
			else if(strncmp(msg.Buf, "Hello There", msg.Idx)==0){
				char response[] = "<General Kenobi>";
				// HAL_UART_Transmit(&huart2, (uint8_t*)&startChar, 1, 1);
				HAL_UART_Transmit_IT(&huart2, (uint8_t*)&response, sizeof(response));
				// HAL_UART_Transmit(&huart2, (uint8_t*)&endChar, 1, 1);

			}else if(strncmp(msg.Buf, "Walk", msg.Idx)==0){
				char response[] = "<walking>";
				STATE = walk;
				HAL_UART_Transmit_IT(&huart2, (uint8_t*)&response, sizeof(response));

			}
			else if(strncmp(msg.Buf, "imuDataRqst", msg.Idx)==0){
				char response[100];
				messageLen = sprintf(response, "<%0.2f,%0.2f,%0.2f,%0.2f,%0.2f,%0.2f,>",
						ADI_IMU_burstReadBufScaled[2],
						ADI_IMU_burstReadBufScaled[3],
						ADI_IMU_burstReadBufScaled[4],
						ADI_IMU_burstReadBufScaled[5],
						ADI_IMU_burstReadBufScaled[6],
						ADI_IMU_burstReadBufScaled[7]);
				HAL_UART_Transmit_IT(&huart2, (uint8_t*)&response, sizeof(response));

			}else if(strncmp(msg.Buf, "performTest", msg.Idx)==0){
				STATE = cntrlSys;
				char response[] = "<testing>";
				HAL_UART_Transmit_IT(&huart2, (uint8_t*)&response, sizeof(response));
			}else if(strncmp(msg.Buf, "stand", msg.Idx)==0){
				STATE = standStill;
				char response[] = "<standing>";
				HAL_UART_Transmit_IT(&huart2, (uint8_t*)&response, sizeof(response));
			}else if(strncmp(msg.Buf, "layDown", msg.Idx)==0){
				STATE = layDown;
				char response[] = "<laying>";
				HAL_UART_Transmit_IT(&huart2, (uint8_t*)&response, sizeof(response));
			}else if(PSC_InterpretCommand(msg.Buf, msg.Idx)){
				//char response[] = "<cmd recieved>";
				//HAL_UART_Transmit(&huart2, (uint8_t*)&startChar, 1, 1);
				if(PSC_g_outputDataReady){
					HAL_UART_Transmit_IT(&huart2, (uint8_t*)&PSC_OUTPUT_BUFFER, PSC_g_outputDataLen);
				}else{
					HAL_UART_Receive_IT(&huart2, (uint8_t *)&PSC_INPUT_BUFFER[PSC_BUFFER_INDEX], 1);
				}
				//
				//HAL_UART_Transmit_IT(&huart2, (uint8_t*)&response, sizeof(response));
				//HAL_UART_Transmit(&huart2, (uint8_t*)&endChar, 1, 1);
			}
			else{
				char response[] = "<Unrecognized cmd>";
				HAL_UART_Transmit_IT(&huart2, (uint8_t*)&response, sizeof(response));
			}

		}
		//	  osEventFlagsWait(serialDataReady_EventFlagHandle, 0x0001,  osFlagsWaitAny, 0);
		//	  if(osMutexAcquire(uartBuffMutexHandle, 0) == osOK){
		//
		//		  PSC_clearBuffer();
		//		  PSC_NEW_DATA_FROM_BOARD = 0;
		//		  osMutexRelease(uartBuffMutexHandle);
		//
		//
		//	  }

	}

  /* USER CODE END StartTask08 */
}

void HAL_TIM_PeriodElapsedCallback(TIM_HandleTypeDef *htim)
{
  if (htim->Instance == TIM6) {
    HAL_IncTick();
  }
  /* USER CODE BEGIN Callback 1 */
	if(htim == &htim14){
		osEventFlagsSet(xControllLoop_EventFlagHandle, 0x0001);
		osEventFlagsSet(yControllLoop_EventFlagHandle, 0x0001);
		currentTick = (float)osKernelGetSysTimerCount()/ (float)osKernelGetSysTimerFreq();
		deltaTicks = currentTick - prevTick;
		prevTick = currentTick;

		if(ENABLE_DATA_LOGGING){
			char response[150];
			int messageLen = sprintf(response, "\n%0.3f,%0.3f,%0.3f,%0.3f,%0.3f,%0.3f,%0.3f,%0.2f,%0.2f,%0.2f,%0.2f,%0.2f,%0.2f,%0.2f,%0.2f,%0.3f,%0.2f,%0.2f,%0.2f\n",
					currentTick,
					ADI_IMU_burstReadBufScaled[2],
					ADI_IMU_burstReadBufScaled[3],
					ADI_IMU_burstReadBufScaled[4],
					ADI_IMU_burstReadBufScaled[5],
					ADI_IMU_burstReadBufScaled[6],
					ADI_IMU_burstReadBufScaled[7],
					LEG_CONT_legPositions[0][0],
					LEG_CONT_legPositions[0][1],
					LEG_CONT_legPositions[0][2],
					LEG_CONT_legPositions[1][0],
					LEG_CONT_legPositions[1][1],
					LEG_CONT_legPositions[1][2],
					LEG_CONT_legPositions[2][0],
					LEG_CONT_legPositions[2][1],
					LEG_CONT_legPositions[2][2],
					LEG_CONT_legPositions[3][0],
					LEG_CONT_legPositions[3][1],
					LEG_CONT_legPositions[3][2]
			);

			currentTick = (float)osKernelGetSysTimerCount()/ (float)osKernelGetSysTimerFreq();
			HAL_UART_Transmit(&huart3, (uint8_t*)&response, messageLen, 10);
			deltaTicks = currentTick - (float)osKernelGetSysTimerCount()/ (float)osKernelGetSysTimerFreq();

		}
	}

  /* USER CODE END Callback 1 */
}

void Error_Handler(void)
{
	__disable_irq();
	while (1)
	{
	}
}
